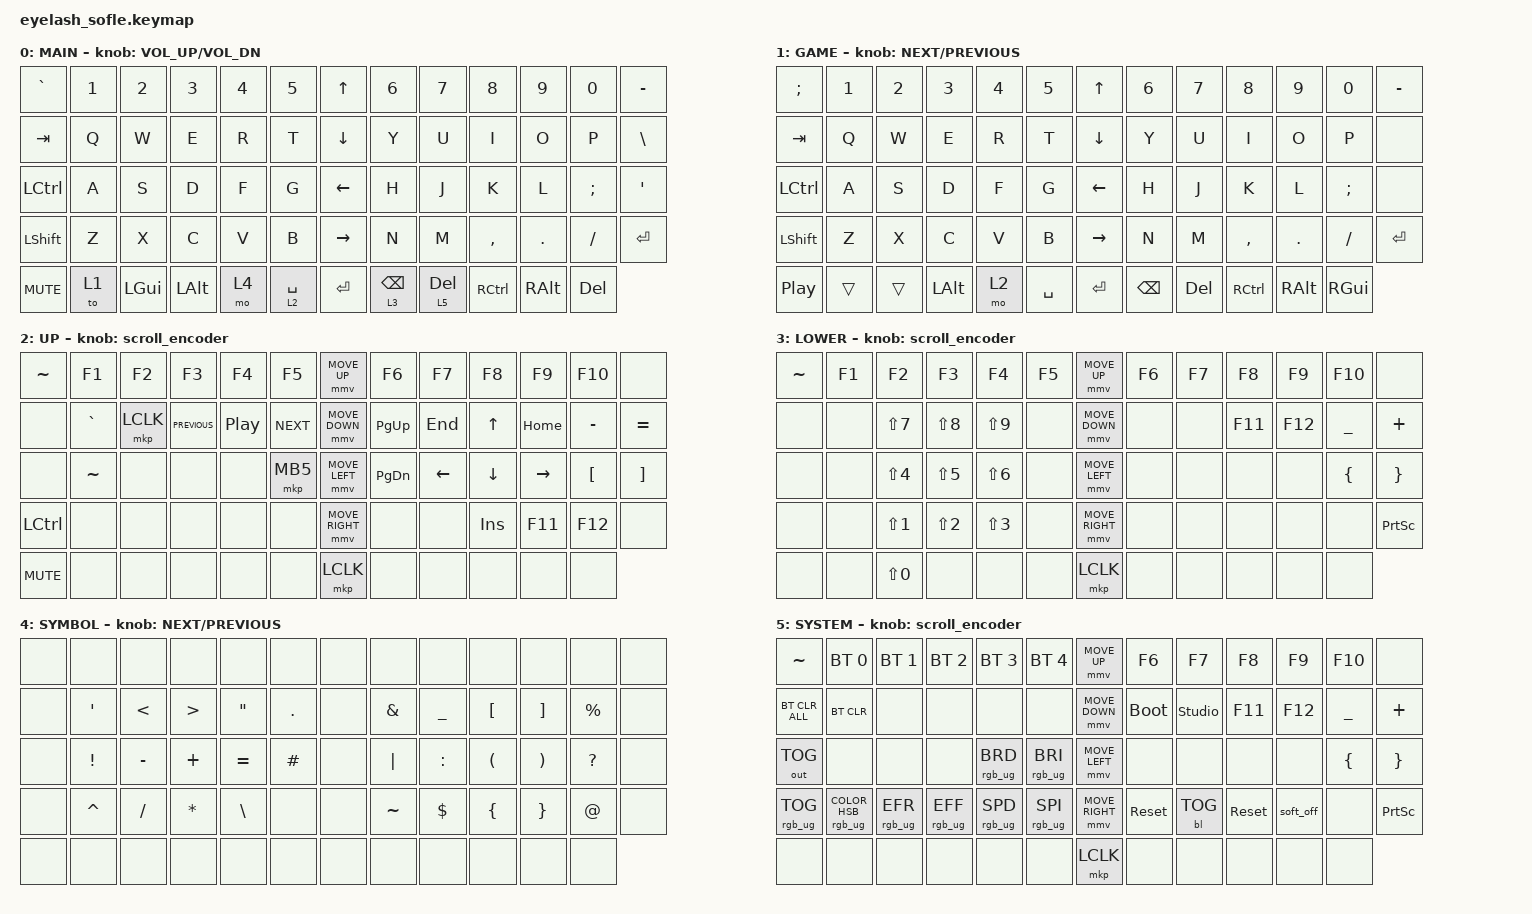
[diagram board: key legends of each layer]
#define ZMK_POINTING_DEFAULT_MOVE_VAL 1200  // 600
#define ZMK_POINTING_DEFAULT_SCRL_VAL 25   // 10

#include <input/processors.dtsi>
#include <zephyr/dt-bindings/input/input-event-codes.h>
#include <behaviors.dtsi>
#include <dt-bindings/zmk/backlight.h>
#include <dt-bindings/zmk/bt.h>
#include <dt-bindings/zmk/keys.h>
#include <dt-bindings/zmk/outputs.h>
#include <dt-bindings/zmk/pointing.h>
#include <dt-bindings/zmk/rgb.h>

&mmv_input_listener { input-processors = <&zip_xy_scaler 2 1>; };

&msc_input_listener { input-processors = <&zip_scroll_scaler 2 1>; };

&msc {
    acceleration-exponent = <1>;      // 0
    time-to-max-speed-ms = <100>;       // 300
    delay-ms = <0>;                   // 0
};

&mmv {
    time-to-max-speed-ms = <500>;
    acceleration-exponent = <1>;
    trigger-period-ms = <16>;
};

/ {
    scroll_encoder: scroll_encoder {
        compatible = "zmk,behavior-sensor-rotate";
        #sensor-binding-cells = <0>;
        bindings = <&msc SCRL_DOWN>, <&msc SCRL_UP>;

        tap-ms = <100>;
    };

    shift_ctrl: shift_ctrl {
        compatible = "zmk,behavior-tap-dance";
        label = "SHIFT_CTRL";
        #binding-cells = <0>;
        tapping-term-ms = <175>;
        bindings = <&kp LEFT_SHIFT>, <&kp LEFT_CONTROL>;
    };

    behaviors {
    };

    combos {
        compatible = "zmk,combos";

        enter {
            bindings = <&kp ENTER>;
            key-positions = <34 47>;
        };

        esc {
            bindings = <&kp ESCAPE>;
            key-positions = <0 13>;
        };

        caps {
            bindings = <&kp CLCK>;
            key-positions = <13 14>;
        };

        delete {
            bindings = <&kp DEL>;
            key-positions = <18 31>;
        };

        maintogame {
            bindings = <&to 1>;
            key-positions = <53 54>;
            layers = <0>;
        };

        gametomain {
            bindings = <&to 0>;
            key-positions = <53 54>;
            layers = <1>;
        };
    };

    keymap {
        compatible = "zmk,keymap";

        MAIN {
            bindings = <
&kp GRAVE         &kp N1  &kp N2        &kp N3        &kp N4  &kp N5         &kp UP_ARROW     &kp N6           &kp N7        &kp N8     &kp N9         &kp N0      &kp MINUS
&kp TAB           &kp Q   &kp W         &kp E         &kp R   &kp T          &kp DOWN_ARROW   &kp Y            &kp U         &kp I      &kp O          &kp P       &kp BSLH
&kp LEFT_CONTROL  &kp A   &kp S         &kp D         &kp F   &kp G          &kp LEFT_ARROW   &kp H            &kp J         &kp K      &kp L          &kp SEMI    &kp APOS
&kp LEFT_SHIFT    &kp Z   &kp X         &kp C         &kp V   &kp B          &kp RIGHT_ARROW  &kp N            &kp M         &kp COMMA  &kp DOT        &kp FSLH    &kp ENTER
&kp C_MUTE        &to 1   &kp LEFT_GUI  &kp LEFT_ALT  &mo 4   &lt 2 SPACE    &kp ENTER        &lt 3 BACKSPACE  &lt 5 DELETE  &kp RCTRL  &kp RIGHT_ALT  &kp DELETE
            >;

            sensor-bindings = <&inc_dec_kp C_VOLUME_UP C_VOL_DN>;
            display-name = "MAIN";
        };

        GAME {
            bindings = <
&kp SEMICOLON     &kp N1  &kp N2  &kp N3        &kp N4  &kp N5       &kp UP     &kp N6    &kp N7   &kp N8             &kp N9         &kp N0         &kp MINUS
&kp TAB           &kp Q   &kp W   &kp E         &kp R   &kp T        &kp DOWN   &kp Y     &kp U    &kp I              &kp O          &kp P          &none
&kp LEFT_CONTROL  &kp A   &kp S   &kp D         &kp F   &kp G        &kp LEFT   &kp H     &kp J    &kp K              &kp L          &kp SEMI       &none
&kp LEFT_SHIFT    &kp Z   &kp X   &kp C         &kp V   &kp B        &kp RIGHT  &kp N     &kp M    &kp COMMA          &kp DOT        &kp FSLH       &kp RET
&kp C_PLAY_PAUSE  &trans  &trans  &kp LEFT_ALT  &mo 2   &kp SPACE    &kp RET    &kp BSPC  &kp DEL  &kp RIGHT_CONTROL  &kp RIGHT_ALT  &kp RIGHT_GUI
            >;

            label = "GAME";
            sensor-bindings = <&inc_dec_kp C_NEXT C_PREVIOUS>;
        };

        RAISE {
            bindings = <
&kp TILDE   &kp F1     &kp F2     &kp F3          &kp F4            &kp F5        &mmv MOVE_UP     &kp F6     &kp F7    &kp F8      &kp F9     &kp F10           &none
&none       &kp GRAVE  &mkp LCLK  &kp C_PREVIOUS  &kp C_PLAY_PAUSE  &kp C_NEXT    &mmv MOVE_DOWN   &kp PG_UP  &kp END   &kp UP      &kp HOME   &kp MINUS         &kp EQUAL
&none       &kp TILDE  &none      &none           &none             &mkp MB5      &mmv MOVE_LEFT   &kp PG_DN  &kp LEFT  &kp DOWN    &kp RIGHT  &kp LEFT_BRACKET  &kp RIGHT_BRACKET
&kp LCTRL   &none      &none      &none           &none             &none         &mmv MOVE_RIGHT  &none      &none     &kp INSERT  &kp F11    &kp F12           &none
&kp C_MUTE  &none      &none      &none           &none             &none         &mkp LCLK        &none      &none     &none       &none      &none
            >;

            display-name = "UP";
            sensor-bindings = <&scroll_encoder>;
            label = "RAISE";
        };

        LOWER {
            bindings = <
&kp TILDE  &kp F1  &kp F2            &kp F3      &kp F4      &kp F5    &mmv MOVE_UP     &kp F6  &kp F7  &kp F8   &kp F9   &kp F10    &none
&none      &none   &kp LS(N7)        &kp LS(N8)  &kp LS(N9)  &none     &mmv MOVE_DOWN   &none   &none   &kp F11  &kp F12  &kp UNDER  &kp PLUS
&none      &none   &kp LS(NUMBER_4)  &kp LS(N5)  &kp LS(N6)  &none     &mmv MOVE_LEFT   &none   &none   &none    &none    &kp LBRC   &kp RBRC
&none      &none   &kp LS(N1)        &kp LS(N2)  &kp LS(N3)  &none     &mmv MOVE_RIGHT  &none   &none   &none    &none    &none      &kp PRINTSCREEN
&none      &none   &kp LS(NUMBER_0)  &none       &none       &none     &mkp LCLK        &none   &none   &none    &none    &none
            >;

            sensor-bindings = <&scroll_encoder>;
            label = "LOWER";
        };

        SYMBOL {
            bindings = <
&none  &none      &none          &none             &none              &none         &none  &none          &none       &none                 &none                  &none         &none
&none  &kp APOS   &kp LESS_THAN  &kp GREATER_THAN  &kp DOUBLE_QUOTES  &kp PERIOD    &none  &kp AMPERSAND  &kp UNDER   &kp LEFT_BRACKET      &kp RIGHT_BRACKET      &kp PERCENT   &none
&none  &kp EXCL   &kp MINUS      &kp PLUS          &kp EQUAL          &kp HASH      &none  &kp PIPE       &kp COLON   &kp LEFT_PARENTHESIS  &kp RIGHT_PARENTHESIS  &kp QUESTION  &none
&none  &kp CARET  &kp SLASH      &kp ASTERISK      &kp BACKSLASH      &none         &none  &kp TILDE      &kp DOLLAR  &kp LEFT_BRACE        &kp RIGHT_BRACE        &kp AT_SIGN   &none
&none  &none      &none          &none             &none              &none         &none  &none          &none       &none                 &none                  &none
            >;

            sensor-bindings = <&inc_dec_kp C_NEXT C_PREVIOUS>;
            label = "SYMBOL";
        };

        SYSTEM {
            label = "SYSTEM";
            bindings = <
&kp TILDE        &bt BT_SEL 0                      &bt BT_SEL 1     &bt BT_SEL 2     &bt BT_SEL 3     &bt BT_SEL 4       &mmv MOVE_UP     &kp F6       &kp F7          &kp F8      &kp F9     &kp F10    &none
&bt BT_CLR_ALL   &bt BT_CLR                        &none            &none            &none            &none              &mmv MOVE_DOWN   &bootloader  &studio_unlock  &kp F11     &kp F12    &kp UNDER  &kp PLUS
&out OUT_TOG     &none                             &none            &none            &rgb_ug RGB_BRD  &rgb_ug RGB_BRI    &mmv MOVE_LEFT   &none        &none           &none       &none      &kp LBRC   &kp RBRC
&rgb_ug RGB_TOG  &rgb_ug RGB_COLOR_HSB(226,91,42)  &rgb_ug RGB_EFR  &rgb_ug RGB_EFF  &rgb_ug RGB_SPD  &rgb_ug RGB_SPI    &mmv MOVE_RIGHT  &sys_reset   &bl BL_TOG      &sys_reset  &soft_off  &none      &kp PRINTSCREEN
&none            &none                             &none            &none            &none            &none              &mkp LCLK        &none        &none           &none       &none      &none
            >;

            sensor-bindings = <&scroll_encoder>;
        };
    };
};

